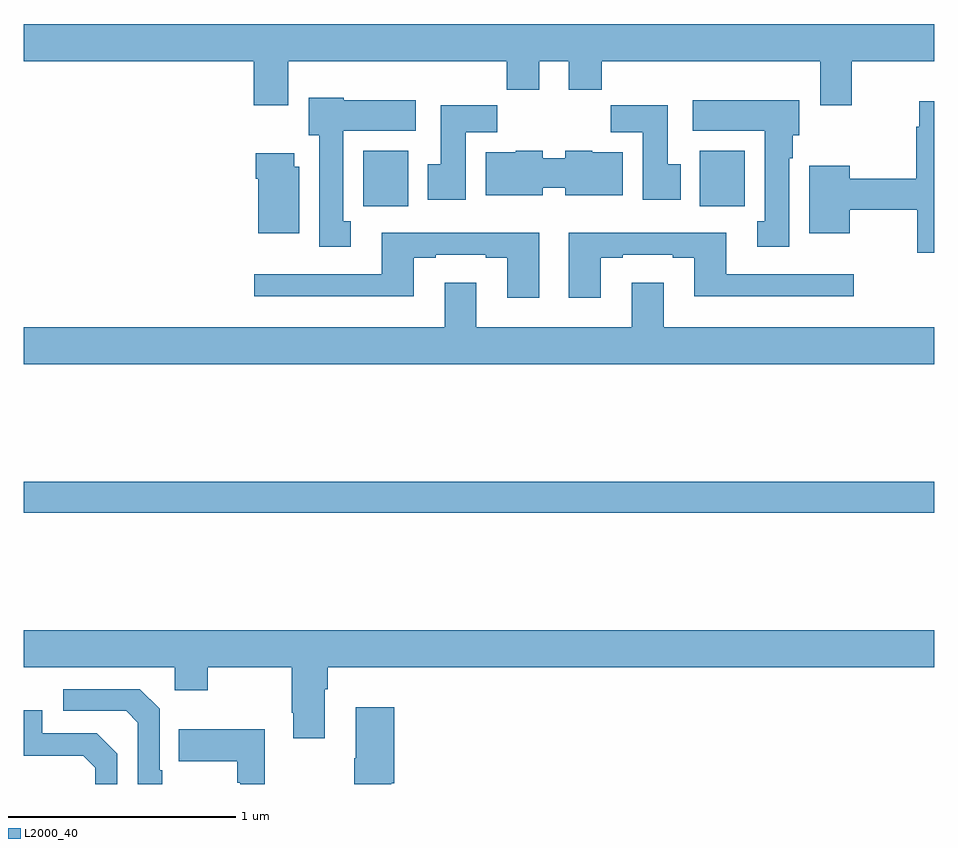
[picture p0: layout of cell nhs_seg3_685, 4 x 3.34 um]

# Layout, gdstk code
import gdstk
lib = gdstk.Library(unit=1e-6, precision=1e-09)
def R(c, l, rs):  # rectangles x0, y0, x1, y1
    for r in rs: c.add(gdstk.rectangle(r[:2], r[2:], *l))
def P(c, l, *ps):  # polygons
    for p in ps: c.add(gdstk.Polygon(p, *l))
L2000_40 = (2000, 40)

nhs_seg3_685 = lib.new_cell('nhs_seg3_685')
R(nhs_seg3_685, L2000_40, [(145,705.592,149,705.728), (146.492,706.94,146.689,707.182), (147.971,706.94,148.168,707.182)])
P(nhs_seg3_685, L2000_40, [(146.161,707.576),(147.121,707.576),(147.121,707.452),(147.265,707.452),(147.265,707.576),(147.395,707.576),(147.395,707.452),(147.539,707.452),(147.539,707.576),(148.499,707.576),(148.499,707.382),(148.639,707.382),(148.639,707.576),(149,707.576),(149,707.74),(145,707.74),(145,707.576),(146.009,707.576),(146.009,707.382),(146.161,707.382)],
  [(146.437,706.874),(146.404,706.874),(146.404,707.27),(146.722,707.27),(146.722,707.404),(146.406,707.404),(146.406,707.416),(146.252,707.416),(146.252,707.25),(146.297,707.25),(146.297,706.761),(146.437,706.761)],
  [(148.363,707.15),(148.378,707.15),(148.378,707.25),(148.408,707.25),(148.408,707.404),(147.939,707.404),(147.939,707.27),(148.256,707.27),(148.256,706.874),(148.223,706.874),(148.223,706.761),(148.363,706.761)],
  [(149,707.401),(148.934,707.401),(148.934,707.288),(148.922,707.288),(148.922,707.06),(148.63,707.06),(148.63,707.116),(148.451,707.116),(148.451,706.82),(148.63,706.82),(148.63,706.924),(148.927,706.924),(148.927,706.734),(149,706.734)],
  [(146.941,707.264),(147.08,707.264),(147.08,707.383),(146.831,707.383),(146.831,707.124),(146.774,707.124),(146.774,706.968),(146.941,706.968)],
  [(147.886,707.124),(147.829,707.124),(147.829,707.383),(147.58,707.383),(147.58,707.264),(147.719,707.264),(147.719,706.968),(147.886,706.968)],
  [(147.28,707.021),(147.38,707.021),(147.38,706.988),(147.631,706.988),(147.631,707.176),(147.498,707.176),(147.498,707.182),(147.38,707.182),(147.38,707.151),(147.28,707.151),(147.28,707.182),(147.162,707.182),(147.162,707.176),(147.029,707.176),(147.029,706.988),(147.28,706.988)],
  [(146.209,707.112),(146.188,707.112),(146.188,707.173),(146.018,707.173),(146.018,707.06),(146.03,707.06),(146.03,706.82),(146.209,706.82)],
  [(147.265,706.822),(146.573,706.822),(146.573,706.641),(146.013,706.641),(146.013,706.544),(146.713,706.544),(146.713,706.713),(146.809,706.713),(146.809,706.725),(147.029,706.725),(147.029,706.713),(147.125,706.713),(147.125,706.536),(147.265,706.536)],
  [(147.535,706.713),(147.631,706.713),(147.631,706.725),(147.851,706.725),(147.851,706.713),(147.947,706.713),(147.947,706.544),(148.648,706.544),(148.648,706.641),(148.087,706.641),(148.087,706.822),(147.395,706.822),(147.395,706.536),(147.535,706.536)],
  [(149,706.408),(147.811,706.408),(147.811,706.603),(147.671,706.603),(147.671,706.408),(146.989,706.408),(146.989,706.603),(146.849,706.603),(146.849,706.408),(145,706.408),(145,706.244),(149,706.244)],
  [(146.323,704.816),(146.336,704.816),(146.336,704.912),(149,704.912),(149,705.076),(145,705.076),(145,704.912),(145.662,704.912),(145.662,704.813),(145.809,704.813),(145.809,704.912),(146.176,704.912),(146.176,704.713),(146.183,704.713),(146.183,704.601),(146.323,704.601)],
  [(145.609,704.461),(145.596,704.461),(145.596,704.73),(145.509,704.817),(145.173,704.817),(145.173,704.721),(145.449,704.721),(145.5,704.67),(145.5,704.4),(145.609,704.4)],
  [(146.614,704.403),(146.627,704.403),(146.627,704.737),(146.459,704.737),(146.459,704.513),(146.452,704.513),(146.452,704.4),(146.614,704.4)],
  [(145.41,704.532),(145.32,704.622),(145.08,704.622),(145.08,704.724),(145,704.724),(145,704.525),(145.261,704.525),(145.314,704.472),(145.314,704.4),(145.41,704.4)],
  [(146.059,704.641),(145.681,704.641),(145.681,704.501),(145.938,704.501),(145.938,704.405),(145.95,704.405),(145.95,704.4),(146.059,704.4)])

lib.write_gds('nhs_seg3_685.gds')
